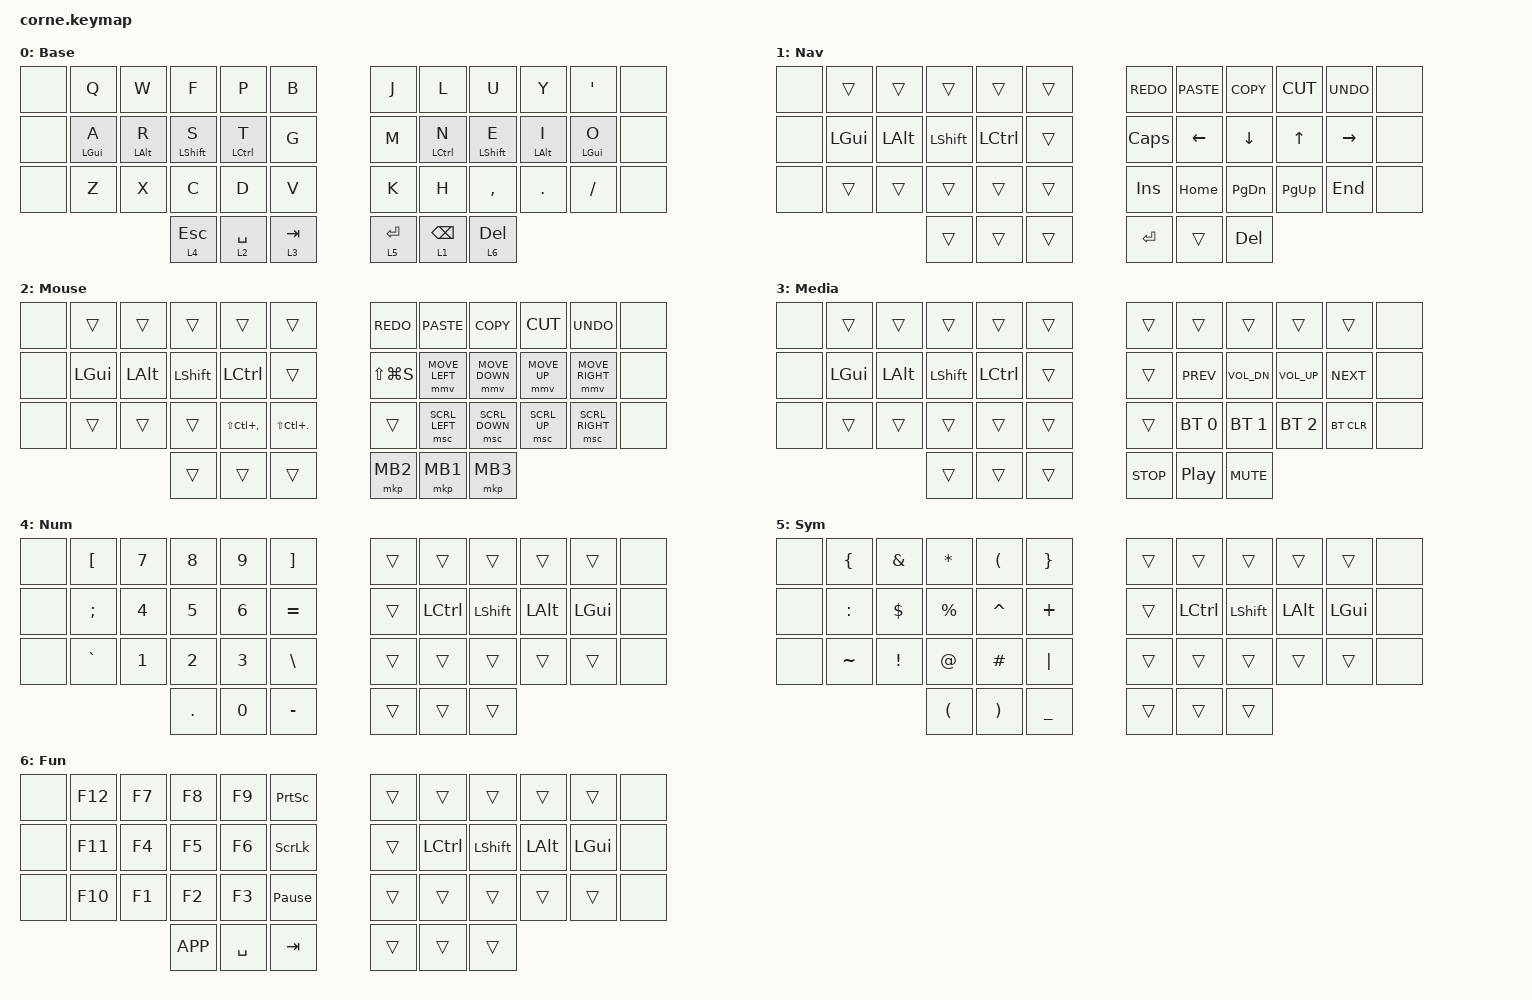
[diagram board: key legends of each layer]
/*
 * Copyright (c) 2020 The ZMK Contributors
 *
 * SPDX-License-Identifier: MIT
 */

#include <behaviors.dtsi>
#include <dt-bindings/zmk/bt.h>
#include <dt-bindings/zmk/keys.h>
#include <dt-bindings/zmk/pointing.h>

/ {
    behaviors {
        hm: homerow_mods {
            compatible = "zmk,behavior-hold-tap";
            #binding-cells = <2>;
            tapping-term-ms = <200>;
            quick-tap-ms = <0>;
            flavor = "tap-preferred";
            bindings = <&kp>, <&kp>;
        };
    };

    keymap {
        compatible = "zmk,keymap";

        // Base Layer - Colemak-DH with Home Row Mods

        default_layer {
            display-name = "Base";
            bindings = <
&none  &kp Q       &kp W       &kp F         &kp P        &kp B        &kp J      &kp L        &kp U         &kp Y       &kp SQT     &none
&none  &hm LGUI A  &hm LALT R  &hm LSHIFT S  &hm LCTRL T  &kp G        &kp M      &hm LCTRL N  &hm LSHIFT E  &hm LALT I  &hm LGUI O  &none
&none  &kp Z       &kp X       &kp C         &kp D        &kp V        &kp K      &kp H        &kp COMMA     &kp DOT     &kp FSLH    &none
                               &lt 4 ESC     &lt 2 SPACE  &lt 3 TAB    &lt 5 RET  &lt 1 BSPC   &lt 6 DEL
            >;
        };

        // Navigation Layer

        nav_layer {
            display-name = "Nav";
            bindings = <
&none  &trans    &trans    &trans     &trans     &trans    &kp K_REDO  &kp K_PASTE  &kp K_COPY  &kp K_CUT  &kp K_UNDO  &none
&none  &kp LGUI  &kp LALT  &kp LSHFT  &kp LCTRL  &trans    &kp CAPS    &kp LEFT     &kp DOWN    &kp UP     &kp RIGHT   &none
&none  &trans    &trans    &trans     &trans     &trans    &kp INS     &kp HOME     &kp PG_DN   &kp PG_UP  &kp END     &none
                           &trans     &trans     &trans    &kp RET     &trans       &kp DEL
            >;
        };

        // Mouse Layer (placeholder - adapt based on your needs)

        mouse_layer {
            display-name = "Mouse";
            bindings = <
&none  &trans    &trans    &trans     &trans             &trans             &kp K_REDO     &kp K_PASTE     &kp K_COPY      &kp K_CUT     &kp K_UNDO       &none
&none  &kp LGUI  &kp LALT  &kp LSHFT  &kp LCTRL          &trans             &kp LS(LG(S))  &mmv MOVE_LEFT  &mmv MOVE_DOWN  &mmv MOVE_UP  &mmv MOVE_RIGHT  &none
&none  &trans    &trans    &trans     &kp LS(LC(COMMA))  &kp LS(LC(DOT))    &trans         &msc SCRL_LEFT  &msc SCRL_DOWN  &msc SCRL_UP  &msc SCRL_RIGHT  &none
                           &trans     &trans             &trans             &mkp MB2       &mkp MB1        &mkp MB3
            >;
        };

        // Media Layer

        media_layer {
            display-name = "Media";
            bindings = <
&none  &trans    &trans    &trans     &trans     &trans    &trans      &trans        &trans        &trans        &trans      &none
&none  &kp LGUI  &kp LALT  &kp LSHFT  &kp LCTRL  &trans    &trans      &kp C_PREV    &kp C_VOL_DN  &kp C_VOL_UP  &kp C_NEXT  &none
&none  &trans    &trans    &trans     &trans     &trans    &trans      &bt BT_SEL 0  &bt BT_SEL 1  &bt BT_SEL 2  &bt BT_CLR  &none
                           &trans     &trans     &trans    &kp C_STOP  &kp C_PP      &kp C_MUTE
            >;
        };

        // Number Layer

        num_layer {
            display-name = "Num";
            bindings = <
&none  &kp LBKT   &kp N7  &kp N8   &kp N9  &kp RBKT     &trans  &trans     &trans      &trans    &trans    &none
&none  &kp SEMI   &kp N4  &kp N5   &kp N6  &kp EQUAL    &trans  &kp LCTRL  &kp LSHIFT  &kp LALT  &kp LGUI  &none
&none  &kp GRAVE  &kp N1  &kp N2   &kp N3  &kp BSLH     &trans  &trans     &trans      &trans    &trans    &none
                          &kp DOT  &kp N0  &kp MINUS    &trans  &trans     &trans
            >;
        };

        // Symbol Layer

        sym_layer {
            display-name = "Sym";
            bindings = <
&none  &kp LBRC   &kp AMPS  &kp ASTRK  &kp LPAR   &kp RBRC     &trans  &trans     &trans      &trans    &trans    &none
&none  &kp COLON  &kp DLLR  &kp PRCNT  &kp CARET  &kp PLUS     &trans  &kp LCTRL  &kp LSHIFT  &kp LALT  &kp LGUI  &none
&none  &kp TILDE  &kp EXCL  &kp AT     &kp HASH   &kp PIPE     &trans  &trans     &trans      &trans    &trans    &none
                            &kp LPAR   &kp RPAR   &kp UNDER    &trans  &trans     &trans
            >;
        };

        // Function Layer

        fun_layer {
            display-name = "Fun";
            bindings = <
&none  &kp F12  &kp F7  &kp F8     &kp F9     &kp PSCRN          &trans  &trans     &trans      &trans    &trans    &none
&none  &kp F11  &kp F4  &kp F5     &kp F6     &kp SLCK           &trans  &kp LCTRL  &kp LSHIFT  &kp LALT  &kp LGUI  &none
&none  &kp F10  &kp F1  &kp F2     &kp F3     &kp PAUSE_BREAK    &trans  &trans     &trans      &trans    &trans    &none
                        &kp K_APP  &kp SPACE  &kp TAB            &trans  &trans     &trans
            >;
        };
    };
};
